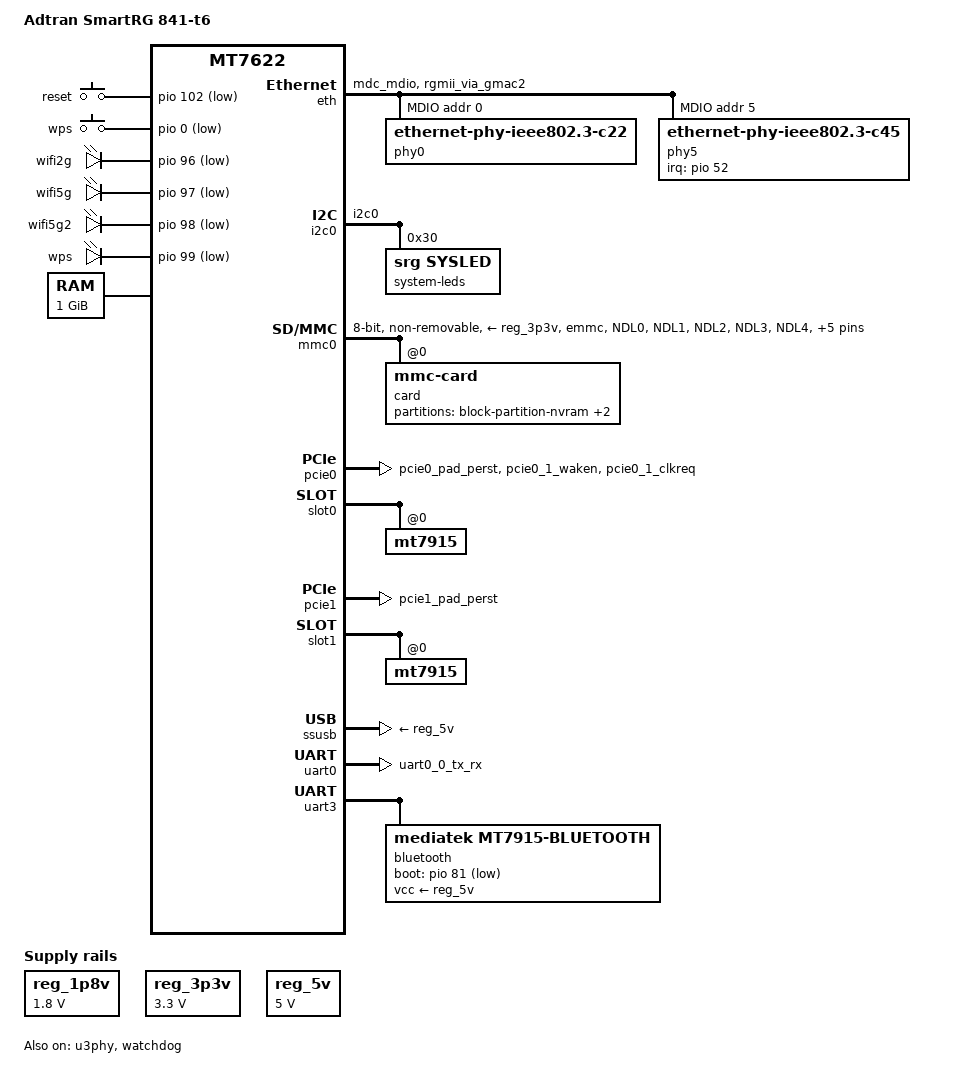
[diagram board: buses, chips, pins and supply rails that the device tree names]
/*
 * SPDX-License-Identifier: (GPL-2.0 OR MIT)
 * Copyright (c) 2018-2023 MediaTek Inc.
 * Authors: Daniel Golle <daniel@makrotopia.org>
 *          Chad Monroe <chad.monroe@adtran.com>
 *          Ryder Lee <ryder.lee@mediatek.com>
 *
 */

/dts-v1/;
#include <dt-bindings/gpio/gpio.h>
#include <dt-bindings/input/input.h>
#include <dt-bindings/leds/common.h>

#include "mt7622.dtsi"
#include "mt6380.dtsi"

/ {
	model = "Adtran SmartRG 841-t6";
	compatible = "smartrg,sdg-841-t6", "mediatek,mt7622";

	aliases {
		ethernet0 = &gmac1;
		label-mac-device = &gmac0;
		led-boot = &sys_status_blue;
		led-failsafe = &sys_status_blue;
		led-running = &sys_status_white;
		led-upgrade = &sys_status_blue;
		serial0 = &uart0;
	};

	chosen {
		stdout-path = "serial0:115200n8";
		bootargs = "earlycon=uart8250,mmio32,0x11002000 console=ttyS0,115200n1 swiotlb=512 root=PARTLABEL=res1";
	};

	cpus {
		cpu@0 {
			proc-supply = <&mt6380_vcpu_reg>;
			sram-supply = <&mt6380_vm_reg>;
		};

		cpu@1 {
			proc-supply = <&mt6380_vcpu_reg>;
			sram-supply = <&mt6380_vm_reg>;
		};
	};

	gpio-keys {
		compatible = "gpio-keys";

		reset {
			label = "reset";
			linux,code = <KEY_RESTART>;
			gpios = <&pio 102 GPIO_ACTIVE_LOW>;
		};

		wps {
			label = "wps";
			linux,code = <KEY_WPS_BUTTON>;
			gpios = <&pio 0 GPIO_ACTIVE_LOW>;
		};
	};

	gpio-leds {
		compatible = "gpio-leds";

		wifi2g {
			label = "wifi2g";
			gpios = <&pio 96 GPIO_ACTIVE_LOW>;
			linux,default-trigger = "phy0radio";
		};

		wifi5g-1 {
			label = "wifi5g";
			gpios = <&pio 97 GPIO_ACTIVE_LOW>;
			linux,default-trigger = "phy1radio";
		};

		wifi5g-2 {
			label = "wifi5g2";
			gpios = <&pio 98 GPIO_ACTIVE_LOW>;
			linux,default-trigger = "phy2radio";
		};

		wps {
			label = "wps";
			gpios = <&pio 99 GPIO_ACTIVE_LOW>;
			default-state = "off";
		};
	};

	memory {
		reg = <0x0 0x40000000 0x0 0x40000000>;
	};

	reserved-memory {
		#address-cells = <2>;
		#size-cells = <2>;
		ranges;

		/delete-node/ramoops@42ff0000;

		bootdata@45000000 {
			no-map;
			reg = <0x0 0x45000000 0x0 0x00001000>;
		};

		ramoops_reserved: ramoops1@45001000 {
			no-map;
			compatible = "ramoops";
			reg = <0x0 0x45001000 0x0 0x00140000>;
			ftrace-size = <0x20000>;
			record-size = <0x20000>;
			console-size = <0x20000>;
			pmsg-size = <0x80000>;
		};
	};

	reg_1p8v: regulator-1p8v {
		compatible = "regulator-fixed";
		regulator-name = "fixed-1.8V";
		regulator-min-microvolt = <1800000>;
		regulator-max-microvolt = <1800000>;
		regulator-always-on;
	};

	reg_3p3v: regulator-3p3v {
		compatible = "regulator-fixed";
		regulator-name = "fixed-3.3V";
		regulator-min-microvolt = <3300000>;
		regulator-max-microvolt = <3300000>;
		regulator-boot-on;
		regulator-always-on;
	};

	reg_5v: regulator-5v {
		compatible = "regulator-fixed";
		regulator-name = "fixed-5V";
		regulator-min-microvolt = <5000000>;
		regulator-max-microvolt = <5000000>;
		regulator-boot-on;
		regulator-always-on;
	};
};

&eth {
	status = "okay";
	pinctrl-names = "default";
	pinctrl-0 = <&eth_pins>;

	gmac0: mac@0 {
		compatible = "mediatek,eth-mac";
		reg = <0>;
		label = "wan";

		nvmem-cells = <&macaddr 0x0>;
		nvmem-cell-names = "mac-address";

		phy-handle = <&phy5>;
		phy-mode = "2500base-x";
		phy-connection-type = "2500base-x";
	};

	gmac1: mac@1 {
		compatible = "mediatek,eth-mac";
		reg = <1>;
		label = "lan";

		nvmem-cells = <&macaddr 0x1>;
		nvmem-cell-names = "mac-address";

		phy-handle = <&phy0>;
		phy-mode = "rgmii-rxid";
		rx-internal-delay-ps = <2000>;
	};

	mdio: mdio-bus {
		#address-cells = <1>;
		#size-cells = <0>;

		phy0: ethernet-phy@0 {
			/* PEF7071 */
			compatible = "ethernet-phy-ieee802.3-c22";
			reg = <0>;

			leds {
				#address-cells = <1>;
				#size-cells = <0>;

				led@0 {
					reg = <0>;
					color = <LED_COLOR_ID_GREEN>;
					function = LED_FUNCTION_LAN;
				};

				led@1 {
					reg = <1>;
					color = <LED_COLOR_ID_AMBER>;
					function = LED_FUNCTION_LAN;
				};
			};
		};

		phy5: ethernet-phy@5 {
			/* GPY211 */
			compatible = "ethernet-phy-ieee802.3-c45";
			reg = <5>;

			interrupt-parent = <&pio>;
			interrupts = <52 IRQ_TYPE_LEVEL_HIGH>;

			leds {
				#address-cells = <1>;
				#size-cells = <0>;

				led@1 {
					reg = <1>;
					color = <LED_COLOR_ID_AMBER>;
					function = LED_FUNCTION_WAN;
				};

				led@2 {
					reg = <2>;
					color = <LED_COLOR_ID_GREEN>;
					function = LED_FUNCTION_WAN;
				};
			};
		};
	};
};

&i2c0 {
	pinctrl-names = "default";
	pinctrl-0 = <&i2c0_pins>;
	status = "okay";

	system-leds@30 {
		compatible = "srg,sysled";
		reg = <0x30>;
		#address-cells = <1>;
		#size-cells = <0>;

		sys_status_blue: system_blue@3 {
			label = "blue";
			reg = <3>;
		};

		sys_status_white: system_white@4 {
			label = "white";
			reg = <4>;
		};
	};
};

&mmc0 {
	pinctrl-names = "default", "state_uhs";
	pinctrl-0 = <&emmc_pins_default>;
	pinctrl-1 = <&emmc_pins_uhs>;
	status = "okay";
	bus-width = <8>;
	max-frequency = <50000000>;
	cap-mmc-highspeed;
	mmc-hs200-1_8v;
	vmmc-supply = <&reg_3p3v>;
	vqmmc-supply = <&reg_1p8v>;
	assigned-clocks = <&topckgen CLK_TOP_MSDC30_0_SEL>;
	assigned-clock-parents = <&topckgen CLK_TOP_UNIV48M>;
	non-removable;
	#address-cells = <1>;
	#size-cells = <0>;

	card@0 {
		compatible = "mmc-card";
		reg = <0>;

		block {
			partitions {
				block-partition-nvram {
					partnum = <3>;
					partname = "nvram";

					nvmem-layout {
						compatible = "u-boot,env";
					};
				};

				block-partition-rf {
					partnum = <4>;
					partname = "rf";

					nvmem-layout {
						compatible = "fixed-layout";
						#address-cells = <1>;
						#size-cells = <1>;

						eeprom0: eeprom@0 {
							reg = <0x0 0x5000>;
						};

						eeprom1: eeprom@5000 {
							reg = <0x5000 0x5000>;
						};
					};
				};

				block-partition-mfginfo {
					partnum = <7>;
					partname = "mfginfo";

					nvmem-layout {
						compatible = "adtran,mfginfo";

						macaddr: mfg-mac {
							#nvmem-cell-cells = <1>;
						};
					};
				};
			};
		};
	};
};

&pcie0 {
	pinctrl-names = "default";
	pinctrl-0 = <&pcie0_pins>;
	status = "okay";
};

&slot0 {
	mt7915@0,0 {
		#address-cells = <1>;
		#size-cells = <0>;
		reg = <0x0000 0 0 0 0>;
		nvmem-cells = <&eeprom0>;
		nvmem-cell-names = "eeprom";
		ieee80211-freq-limit = <2400000 5330000>;

		band@0 {
			/* 2.4 GHz */
			reg = <0>;
			nvmem-cells = <&macaddr 0x4>;
			nvmem-cell-names = "mac-address";
		};

		band@1 {
			/* lower 5 GHz */
			reg = <1>;
			nvmem-cells = <&macaddr 0xa>;
			nvmem-cell-names = "mac-address";
		};
	};
};

&pcie1 {
	pinctrl-names = "default";
	pinctrl-0 = <&pcie1_pins>;
	status = "okay";
};

&slot1 {
	mt7915@0,0 {
		/* upper 5 GHz */
		reg = <0x0000 0 0 0 0>;
		nvmem-cells = <&eeprom1>, <&macaddr 0xf>;
		nvmem-cell-names = "eeprom", "mac-address";
		ieee80211-freq-limit = <5490000 5835000>;
		rdd_antenna = <0x02>;
	};
};

&pio {
	/* eMMC is shared pin with parallel NAND */
	emmc_pins_default: emmc-pins-default {
		mux {
			function = "emmc", "emmc_rst";
			groups = "emmc";
		};

		/* "NDL0","NDL1","NDL2","NDL3","NDL4","NDL5","NDL6","NDL7",
		 * "NRB","NCLE" pins are used as DAT0,DAT1,DAT2,DAT3,DAT4,
		 * DAT5,DAT6,DAT7,CMD,CLK for eMMC respectively
		 */
		conf-cmd-dat {
			pins = "NDL0", "NDL1", "NDL2",
			       "NDL3", "NDL4", "NDL5",
			       "NDL6", "NDL7", "NRB";
			input-enable;
			bias-pull-up;
		};

		conf-clk {
			pins = "NCLE";
			bias-pull-down;
		};
	};

	emmc_pins_uhs: emmc-pins-uhs {
		mux {
			function = "emmc";
			groups = "emmc";
		};

		conf-cmd-dat {
			pins = "NDL0", "NDL1", "NDL2",
			       "NDL3", "NDL4", "NDL5",
			       "NDL6", "NDL7", "NRB";
			input-enable;
			drive-strength = <4>;
			bias-pull-up;
		};

		conf-clk {
			pins = "NCLE";
			drive-strength = <4>;
			bias-pull-down;
		};
	};

	eth_pins: eth-pins {
		mux {
			function = "eth";
			groups = "mdc_mdio", "rgmii_via_gmac2";
		};
	};

	i2c0_pins: i2c0-pins {
		mux {
			function = "i2c";
			groups =  "i2c0";
		};
	};

	pcie0_pins: pcie0-pins {
		mux {
			function = "pcie";
			groups = "pcie0_pad_perst",
				 "pcie0_1_waken",
				 "pcie0_1_clkreq";
		};
	};

	pcie1_pins: pcie1-pins {
		mux {
			function = "pcie";
			groups = "pcie1_pad_perst";
		};
	};

	pmic_bus_pins: pmic-bus-pins {
		mux {
			function = "pmic";
			groups = "pmic_bus";
		};
	};

	uart0_pins: uart0-pins {
		mux {
			function = "uart";
			groups = "uart0_0_tx_rx" ;
		};
	};

	uart3_pins: uart3-pins {
		mux {
			function = "uart";
			groups = "uart3_1_tx_rx" ;
		};
	};

	watchdog_pins: watchdog-pins {
		mux {
			function = "watchdog";
			groups = "watchdog";
		};
	};
};

&pwrap {
	pinctrl-names = "default";
	pinctrl-0 = <&pmic_bus_pins>;
	status = "okay";
};

&ssusb {
	vusb33-supply = <&reg_3p3v>;
	vbus-supply = <&reg_5v>;
	status = "okay";
};

&u3phy {
	status = "okay";
};

&uart0 {
	pinctrl-names = "default";
	pinctrl-0 = <&uart0_pins>;
	status = "okay";
};

&uart3 {
	status = "okay";

	bluetooth {
		compatible = "mediatek,mt7915-bluetooth";
		vcc-supply = <&reg_5v>;
		pinctrl-names = "runtime";
		pinctrl-0 = <&uart3_pins>;
		boot-gpios = <&pio 81 GPIO_ACTIVE_LOW>;
		current-speed = <921600>;
	};
};

&watchdog {
	pinctrl-names = "default";
	pinctrl-0 = <&watchdog_pins>;
	status = "okay";
};
